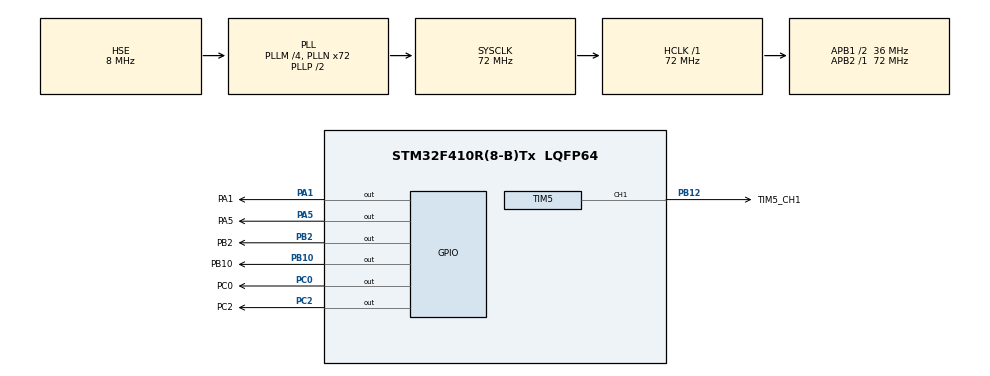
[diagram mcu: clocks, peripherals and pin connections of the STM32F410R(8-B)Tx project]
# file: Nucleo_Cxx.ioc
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Dma.Request0=TIM5_CH1
Dma.TIM5_CH1.0.Direction=DMA_MEMORY_TO_PERIPH
Dma.TIM5_CH1.0.FIFOMode=DMA_FIFOMODE_DISABLE
Dma.TIM5_CH1.0.Instance=DMA1_Stream2
Dma.TIM5_CH1.0.MemDataAlignment=DMA_MDATAALIGN_WORD
Dma.TIM5_CH1.0.MemInc=DMA_MINC_ENABLE
Dma.TIM5_CH1.0.Mode=DMA_NORMAL
Dma.TIM5_CH1.0.PeriphDataAlignment=DMA_PDATAALIGN_WORD
Dma.TIM5_CH1.0.PeriphInc=DMA_PINC_DISABLE
Dma.TIM5_CH1.0.Priority=DMA_PRIORITY_HIGH
Mcu.Family=STM32F4
Mcu.Name=STM32F410R(8-B)Tx
Mcu.Package=LQFP64
NVIC.DMA1_Stream2_IRQn=true\:0\:0\:false\:false\:true\:false\:true
NVIC.PriorityGroup=NVIC_PRIORITYGROUP_4
NVIC.TIM6_DAC_IRQn=true\:0\:0\:false\:false\:true\:true\:true
PA1.GPIO_Label=PA1
PA1.Signal=GPIO_Output
PA13.Mode=Trace_Asynchronous_SW
PA13.Signal=SYS_JTMS-SWDIO
PA14.Mode=Trace_Asynchronous_SW
PA14.Signal=SYS_JTCK-SWCLK
PA5.GPIO_Label=PA5
PA5.Signal=GPIO_Output
PB10.GPIO_Label=PB10
PB10.Signal=GPIO_Output
PB12.GPIO_Label=TIM5_CH1
PB12.GPIO_PuPd=GPIO_NOPULL
PB12.GPIO_Speed=GPIO_SPEED_FREQ_VERY_HIGH
PB12.Signal=S_TIM5_CH1
PB2.GPIO_Label=PB2
PB2.Signal=GPIO_Output
PB3.Mode=Trace_Asynchronous_SW
PB3.Signal=SYS_JTDO-SWO
PC0.GPIO_Label=PC0
PC0.Signal=GPIO_Output
PC2.GPIO_Label=PC2
PC2.Signal=GPIO_Output
PH0\ -\ OSC_IN.Mode=HSE-External-Clock-Source
PH0\ -\ OSC_IN.Signal=RCC_OSC_IN
PH1\ -\ OSC_OUT.Mode=HSE-External-Clock-Source
PH1\ -\ OSC_OUT.Signal=RCC_OSC_OUT
ProjectManager.HeapSize=0x200
ProjectManager.StackSize=0x400
ProjectManager.TargetToolchain=STM32CubeIDE
RCC.48MHZClocksFreq_Value=48000000
RCC.AHBFreq_Value=72000000
RCC.APB1CLKDivider=RCC_HCLK_DIV2
RCC.APB1Freq_Value=36000000
RCC.APB1TimFreq_Value=72000000
RCC.APB2Freq_Value=72000000
RCC.APB2TimFreq_Value=72000000
RCC.CortexFreq_Value=72000000
RCC.HCLKFreq_Value=72000000
RCC.HSE_VALUE=8000000
RCC.HSI_VALUE=16000000
RCC.LSE_VALUE=32768
RCC.PLLM=4
RCC.PLLN=72
RCC.PLLQ=3
RCC.PLLSourceVirtual=RCC_PLLSOURCE_HSE
RCC.SYSCLKFreq_VALUE=72000000
RCC.SYSCLKSource=RCC_SYSCLKSOURCE_PLLCLK
RCC.VCOOutputFreq_Value=144000000
SH.S_TIM5_CH1.0=TIM5_CH1,PWM Generation1 CH1
TIM5.AutoReloadPreload=TIM_AUTORELOAD_PRELOAD_ENABLE
TIM5.Channel-PWM\ Generation1\ CH1=TIM_CHANNEL_1
TIM5.CounterMode=TIM_COUNTERMODE_UP
TIM5.OC1Preload_PWM=ENABLE
TIM5.OCPolarity_1=TIM_OCPOLARITY_HIGH
TIM5.Period=89
TIM5.Pulse-PWM\ Generation1\ CH1=0
TIM5.TIM_MasterOutputTrigger=TIM_TRGO_RESET
TIM6.AutoReloadPreload=TIM_AUTORELOAD_PRELOAD_ENABLE
TIM6.Period=63999
TIM6.Prescaler=5624
VP_RNG_VS_RNG.Mode=RNG_Activate
VP_TIM5_VS_ClockSourceINT.Mode=Internal
VP_TIM6_VS_ClockSourceINT.Mode=Enable_Timer
board=NUCLEO-F410RB

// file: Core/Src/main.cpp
/* USER CODE BEGIN Header */
/**
  ******************************************************************************
  * @file           : main.c
  * @brief          : Main program body
  ******************************************************************************
  * @attention
  *
  * <h2><center>&copy; Copyright (c) 2019 STMicroelectronics.
  * All rights reserved.</center></h2>
  *
  * This software component is licensed by ST under BSD 3-Clause license,
  * the "License"; You may not use this file except in compliance with the
  * License. You may obtain a copy of the License at:
  *                        opensource.org/licenses/BSD-3-Clause
  *
  ******************************************************************************
  */
/* USER CODE END Header */

#include "main.h"
#include "dma.h"
#include "rng.h"
#include "tim.h"
#include "gpio.h"

/* USER CODE BEGIN Includes */

#include <string.h>
#include "ws2812.h"
#include "dispatcher.h"

using namespace Mcucpp;
using namespace Mcucpp::Containers;
using namespace ws2812;

/* USER CODE END Includes */

/* USER CODE BEGIN PV */
DMA_HandleTypeDef hdma_tim5_ch1;

/* USER CODE END PV */

void SystemClock_Config(void);
/* USER CODE BEGIN PFP */

void Demo (void);
void BrightFloat (void);

/* USER CODE END PFP */

int main(void)
{

  /* MCU Configuration--------------------------------------------------------*/

  /* Reset of all peripherals, Initializes the Flash interface and the Systick. */
   HAL_Init();

  /* Configure the system clock */
  SystemClock_Config();

  /* Initialize all configured peripherals */
  MX_GPIO_Init();
  MX_DMA_Init();
  MX_TIM5_Init();
  MX_TIM6_Init();
  MX_RNG_Init();
  /* USER CODE BEGIN 2 */

  GetCurrentDispatcher().SetTimerFunc(HAL_GetTick);

  HAL_TIM_Base_Start_IT(&htim6);

  ws().init(BRIGHT_5);

  Demo();
  BrightFloat();

  /* USER CODE END 2 */

  /* Infinite loop */
  /* USER CODE BEGIN WHILE */
  while (1)
  {
	  GetCurrentDispatcher().Poll();

    /* USER CODE END WHILE */

  }
}

void SystemClock_Config(void)
{
  RCC_OscInitTypeDef RCC_OscInitStruct = {0};
  RCC_ClkInitTypeDef RCC_ClkInitStruct = {0};

  /** Configure the main internal regulator output voltage
  */
  __HAL_RCC_PWR_CLK_ENABLE();
  __HAL_PWR_VOLTAGESCALING_CONFIG(PWR_REGULATOR_VOLTAGE_SCALE1);
  /** Initializes the CPU, AHB and APB busses clocks
  */
  RCC_OscInitStruct.OscillatorType = RCC_OSCILLATORTYPE_HSE;
  RCC_OscInitStruct.HSEState = RCC_HSE_BYPASS;
  RCC_OscInitStruct.PLL.PLLState = RCC_PLL_ON;
  RCC_OscInitStruct.PLL.PLLSource = RCC_PLLSOURCE_HSE;
  RCC_OscInitStruct.PLL.PLLM = 4;
  RCC_OscInitStruct.PLL.PLLN = 72;
  RCC_OscInitStruct.PLL.PLLP = RCC_PLLP_DIV2;
  RCC_OscInitStruct.PLL.PLLQ = 3;
  RCC_OscInitStruct.PLL.PLLR = 2;
  if (HAL_RCC_OscConfig(&RCC_OscInitStruct) != HAL_OK)
  {
    Error_Handler();
  }
  /** Initializes the CPU, AHB and APB busses clocks
  */
  RCC_ClkInitStruct.ClockType = RCC_CLOCKTYPE_HCLK|RCC_CLOCKTYPE_SYSCLK
                              |RCC_CLOCKTYPE_PCLK1|RCC_CLOCKTYPE_PCLK2;
  RCC_ClkInitStruct.SYSCLKSource = RCC_SYSCLKSOURCE_PLLCLK;
  RCC_ClkInitStruct.AHBCLKDivider = RCC_SYSCLK_DIV1;
  RCC_ClkInitStruct.APB1CLKDivider = RCC_HCLK_DIV2;
  RCC_ClkInitStruct.APB2CLKDivider = RCC_HCLK_DIV1;

  if (HAL_RCC_ClockConfig(&RCC_ClkInitStruct, FLASH_LATENCY_2) != HAL_OK)
  {
    Error_Handler();
  }
}

/* USER CODE BEGIN 4 */

void Demo (void){

	switch (ws().get_mode()){

	case 0:

		ws().set_led(0, 4, Red);
		ws().set_led(4, 8, Blue);
		ws().set_led(8, 12, Green);
		ws().set_led(12, 16, Magenta);

		ws().next_mode();

		break;

	case 1:
		break;

	case 2:
		ws().set_led(0, 8, Red);
		ws().set_led(8, 16, Blue);

		ws().set_delay(100);
		ws().next_mode();
		break;

	case 3:
		ws().run_line_forward();
		break;

	case 4:
		ws().set_led(0, 4, BlueViolet);
		ws().set_led(4, 8, Gold);
		ws().set_led(8, 12, DarkGreen);
		ws().set_led(12, 16, OrangeRed);

		ws().set_delay(75);
		ws().next_mode();
		break;

	case 5:
		ws().run_line_back();
		break;

	case 6:
		ws().set_led(0, 16, Red);

		ws().set_delay(500);
		ws().next_mode();
		break;

	case 7:
		ws().shift_color();
		break;

	case 8:
		ws().set_led(0, 16, Black);
		ws().set_led(0, 1, Red);
		ws().set_led(1, 2, Green);
		ws().set_led(2, 3, Blue);

		ws().set_delay(50);
		ws().next_mode();
		break;

	case 9:
		ws().jump(3);
		break;

	case 10:
		ws().set_delay(100);
		ws().random_colours();
		break;

	case 11:
		ws().clear_state();
		break;

	default:
		break;
	}

	GetCurrentDispatcher().SetTimer(ws().get_delay(), &Demo);
}

void BrightFloat (void){
	uint32_t mode = ws().get_mode();

	if (mode == 1 || mode == 7){
		ws().bright_float();
	}

	GetCurrentDispatcher().SetTimer(100, &BrightFloat);
}

void HAL_TIM_PWM_PulseFinishedCallback(TIM_HandleTypeDef *htim){

	HAL_TIM_PWM_Stop_DMA(htim, TIM_CHANNEL_1);
}

void HAL_TIM_PeriodElapsedCallback(TIM_HandleTypeDef *htim){
	if (htim->Instance == TIM6){
		ws().next_mode();
	}
}

/* USER CODE END 4 */

void Error_Handler(void)
{
}

/************************ (C) COPYRIGHT STMicroelectronics *****END OF FILE****/
